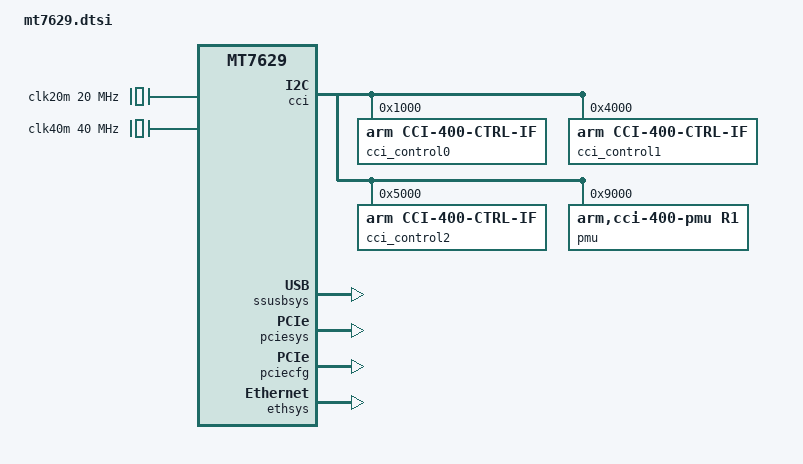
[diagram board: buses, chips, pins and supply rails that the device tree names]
// SPDX-License-Identifier: GPL-2.0
/*
 * Copyright (c) 2019 MediaTek Inc.
 *
 * Author: Ryder Lee <ryder.lee@mediatek.com>
 */

#include <dt-bindings/interrupt-controller/irq.h>
#include <dt-bindings/interrupt-controller/arm-gic.h>
#include <dt-bindings/clock/mt7629-clk.h>
#include <dt-bindings/power/mt7622-power.h>
#include <dt-bindings/gpio/gpio.h>
#include <dt-bindings/phy/phy.h>
#include <dt-bindings/reset/mt7629-resets.h>

/ {
	compatible = "mediatek,mt7629";
	interrupt-parent = <&sysirq>;
	#address-cells = <1>;
	#size-cells = <1>;

	cpus {
		#address-cells = <1>;
		#size-cells = <0>;
		enable-method = "mediatek,mt6589-smp";

		cpu0: cpu@0 {
			device_type = "cpu";
			compatible = "arm,cortex-a7";
			reg = <0x0>;
			clock-frequency = <1250000000>;
			cci-control-port = <&cci_control2>;
		};

		cpu1: cpu@1 {
			device_type = "cpu";
			compatible = "arm,cortex-a7";
			reg = <0x1>;
			clock-frequency = <1250000000>;
			cci-control-port = <&cci_control2>;
		};
	};

	pmu {
		compatible = "arm,cortex-a7-pmu";
		interrupts = <GIC_SPI 8 IRQ_TYPE_LEVEL_LOW>,
			     <GIC_SPI 9 IRQ_TYPE_LEVEL_LOW>;
		interrupt-affinity = <&cpu0>, <&cpu1>;
	};

	clk20m: oscillator-0 {
		compatible = "fixed-clock";
		#clock-cells = <0>;
		clock-frequency = <20000000>;
		clock-output-names = "clk20m";
	};

	clk40m: oscillator-1 {
		compatible = "fixed-clock";
		#clock-cells = <0>;
		clock-frequency = <40000000>;
		clock-output-names = "clkxtal";
	};

	timer {
		compatible = "arm,armv7-timer";
		interrupt-parent = <&gic>;
		interrupts = <GIC_PPI 13 (GIC_CPU_MASK_SIMPLE(4) | IRQ_TYPE_LEVEL_HIGH)>,
			     <GIC_PPI 14 (GIC_CPU_MASK_SIMPLE(4) | IRQ_TYPE_LEVEL_HIGH)>,
			     <GIC_PPI 11 (GIC_CPU_MASK_SIMPLE(4) | IRQ_TYPE_LEVEL_HIGH)>,
			     <GIC_PPI 10 (GIC_CPU_MASK_SIMPLE(4) | IRQ_TYPE_LEVEL_HIGH)>;
		clock-frequency = <20000000>;
	};

	soc {
		compatible = "simple-bus";
		#address-cells = <1>;
		#size-cells = <1>;
		ranges;

		infracfg: syscon@10000000 {
			compatible = "mediatek,mt7629-infracfg", "syscon";
			reg = <0x10000000 0x1000>;
			#clock-cells = <1>;
		};

		pericfg: syscon@10002000 {
			compatible = "mediatek,mt7629-pericfg", "syscon";
			reg = <0x10002000 0x1000>;
			#clock-cells = <1>;
		};

		scpsys: power-controller@10006000 {
			compatible = "mediatek,mt7629-scpsys",
				     "mediatek,mt7622-scpsys";
			#power-domain-cells = <1>;
			reg = <0x10006000 0x1000>;
			clocks = <&topckgen CLK_TOP_HIF_SEL>;
			clock-names = "hif_sel";
			assigned-clocks = <&topckgen CLK_TOP_HIF_SEL>;
			assigned-clock-parents = <&topckgen CLK_TOP_UNIVPLL1_D2>;
			infracfg = <&infracfg>;
		};

		timer: timer@10009000 {
			compatible = "mediatek,mt7629-timer",
				     "mediatek,mt6765-timer";
			reg = <0x10009000 0x60>;
			interrupts = <GIC_SPI 169 IRQ_TYPE_LEVEL_HIGH>,
				     <GIC_SPI 170 IRQ_TYPE_LEVEL_HIGH>;
			clocks = <&clk20m>;
			clock-names = "clk20m";
		};

		sysirq: interrupt-controller@10200a80 {
			compatible = "mediatek,mt7629-sysirq",
				     "mediatek,mt6577-sysirq";
			reg = <0x10200a80 0x20>;
			interrupt-controller;
			#interrupt-cells = <3>;
			interrupt-parent = <&gic>;
		};

		apmixedsys: syscon@10209000 {
			compatible = "mediatek,mt7629-apmixedsys", "syscon";
			reg = <0x10209000 0x1000>;
			#clock-cells = <1>;
		};

		rng: rng@1020f000 {
			compatible = "mediatek,mt7629-rng",
				     "mediatek,mt7623-rng";
			reg = <0x1020f000 0x100>;
			clocks = <&infracfg CLK_INFRA_TRNG_PD>;
			clock-names = "rng";
		};

		topckgen: syscon@10210000 {
			compatible = "mediatek,mt7629-topckgen", "syscon";
			reg = <0x10210000 0x1000>;
			#clock-cells = <1>;
		};

		watchdog: watchdog@10212000 {
			compatible = "mediatek,mt7629-wdt",
				     "mediatek,mt6589-wdt";
			reg = <0x10212000 0x100>;
		};

		pio: pinctrl@10217000 {
			compatible = "mediatek,mt7629-pinctrl";
			reg = <0x10217000 0x8000>,
			      <0x10005000 0x1000>;
			reg-names = "base", "eint";
			gpio-controller;
			gpio-ranges = <&pio 0 0 79>;
			#gpio-cells = <2>;
			#interrupt-cells = <2>;
			interrupt-controller;
			interrupts = <GIC_SPI 153 IRQ_TYPE_LEVEL_HIGH>;
			interrupt-parent = <&gic>;
		};

		gic: interrupt-controller@10300000 {
			compatible = "arm,gic-400";
			interrupt-controller;
			#interrupt-cells = <3>;
			interrupt-parent = <&gic>;
			reg = <0x10310000 0x1000>,
			      <0x10320000 0x1000>,
			      <0x10340000 0x2000>,
			      <0x10360000 0x2000>;
		};

		cci: cci@10390000 {
			compatible = "arm,cci-400";
			#address-cells = <1>;
			#size-cells = <1>;
			reg = <0x10390000 0x1000>;
			ranges = <0 0x10390000 0x10000>;

			cci_control0: slave-if@1000 {
				compatible = "arm,cci-400-ctrl-if";
				interface-type = "ace-lite";
				reg = <0x1000 0x1000>;
			};

			cci_control1: slave-if@4000 {
				compatible = "arm,cci-400-ctrl-if";
				interface-type = "ace";
				reg = <0x4000 0x1000>;
			};

			cci_control2: slave-if@5000 {
				compatible = "arm,cci-400-ctrl-if";
				interface-type = "ace";
				reg = <0x5000 0x1000>;
			};

			pmu@9000 {
				compatible = "arm,cci-400-pmu,r1";
				reg = <0x9000 0x5000>;
				interrupts = <GIC_SPI 58 IRQ_TYPE_LEVEL_HIGH>,
					     <GIC_SPI 59 IRQ_TYPE_LEVEL_HIGH>,
					     <GIC_SPI 60 IRQ_TYPE_LEVEL_HIGH>,
					     <GIC_SPI 61 IRQ_TYPE_LEVEL_HIGH>,
					     <GIC_SPI 62 IRQ_TYPE_LEVEL_HIGH>;
			};
		};

		uart0: serial@11002000 {
			compatible = "mediatek,mt7629-uart",
				     "mediatek,mt6577-uart";
			reg = <0x11002000 0x400>;
			interrupts = <GIC_SPI 91 IRQ_TYPE_LEVEL_LOW>;
			clocks = <&topckgen CLK_TOP_UART_SEL>,
				 <&pericfg CLK_PERI_UART0_PD>;
			clock-names = "baud", "bus";
			status = "disabled";
		};

		uart1: serial@11003000 {
			compatible = "mediatek,mt7629-uart",
				     "mediatek,mt6577-uart";
			reg = <0x11003000 0x400>;
			interrupts = <GIC_SPI 92 IRQ_TYPE_LEVEL_LOW>;
			clocks = <&topckgen CLK_TOP_UART_SEL>,
				 <&pericfg CLK_PERI_UART1_PD>;
			clock-names = "baud", "bus";
			status = "disabled";
		};

		uart2: serial@11004000 {
			compatible = "mediatek,mt7629-uart",
				     "mediatek,mt6577-uart";
			reg = <0x11004000 0x400>;
			interrupts = <GIC_SPI 93 IRQ_TYPE_LEVEL_LOW>;
			clocks = <&topckgen CLK_TOP_UART_SEL>,
				 <&pericfg CLK_PERI_UART2_PD>;
			clock-names = "baud", "bus";
			status = "disabled";
		};

		pwm: pwm@11006000 {
			compatible = "mediatek,mt7629-pwm";
			reg = <0x11006000 0x1000>;
			#pwm-cells = <2>;
			clocks = <&topckgen CLK_TOP_PWM_SEL>,
				 <&pericfg CLK_PERI_PWM_PD>,
				 <&pericfg CLK_PERI_PWM1_PD>;
			clock-names = "top", "main", "pwm1";
			assigned-clocks = <&topckgen CLK_TOP_PWM_SEL>;
			assigned-clock-parents =
					<&topckgen CLK_TOP_UNIVPLL2_D4>;
			status = "disabled";
		};

		i2c: i2c@11007000 {
			compatible = "mediatek,mt7629-i2c",
				     "mediatek,mt2712-i2c";
			reg = <0x11007000 0x90>,
			      <0x11000100 0x80>;
			interrupts = <GIC_SPI 84 IRQ_TYPE_LEVEL_LOW>;
			clock-div = <4>;
			clocks = <&pericfg CLK_PERI_I2C0_PD>,
				 <&pericfg CLK_PERI_AP_DMA_PD>;
			clock-names = "main", "dma";
			assigned-clocks = <&topckgen CLK_TOP_AXI_SEL>;
			assigned-clock-parents = <&topckgen CLK_TOP_SYSPLL1_D2>;
			#address-cells = <1>;
			#size-cells = <0>;
			status = "disabled";
		};

		spi: spi@1100a000 {
			compatible = "mediatek,mt7629-spi",
				     "mediatek,mt7622-spi";
			#address-cells = <1>;
			#size-cells = <0>;
			reg = <0x1100a000 0x100>;
			interrupts = <GIC_SPI 118 IRQ_TYPE_LEVEL_LOW>;
			clocks = <&topckgen CLK_TOP_SYSPLL3_D2>,
				 <&topckgen CLK_TOP_SPI0_SEL>,
				 <&pericfg CLK_PERI_SPI0_PD>;
			clock-names = "parent-clk", "sel-clk", "spi-clk";
			status = "disabled";
		};

		qspi: spi@11014000 {
			compatible = "mediatek,mt7629-nor",
				     "mediatek,mt8173-nor";
			reg = <0x11014000 0xe0>;
			clocks = <&pericfg CLK_PERI_FLASH_PD>,
				 <&topckgen CLK_TOP_FLASH_SEL>;
			clock-names = "spi", "sf";
			#address-cells = <1>;
			#size-cells = <0>;
			status = "disabled";
		};

		ssusbsys: syscon@1a000000 {
			compatible = "mediatek,mt7629-ssusbsys", "syscon";
			reg = <0x1a000000 0x1000>;
			#clock-cells = <1>;
			#reset-cells = <1>;
		};

		ssusb: usb@1a0c0000 {
			compatible = "mediatek,mt7629-xhci",
				     "mediatek,mtk-xhci";
			reg = <0x1a0c0000 0x01000>,
			      <0x1a0c3e00 0x0100>;
			reg-names = "mac", "ippc";
			interrupts = <GIC_SPI 232 IRQ_TYPE_LEVEL_LOW>;
			clocks = <&ssusbsys CLK_SSUSB_SYS_EN>,
				 <&ssusbsys CLK_SSUSB_REF_EN>,
				 <&ssusbsys CLK_SSUSB_MCU_EN>,
				 <&ssusbsys CLK_SSUSB_DMA_EN>;
			clock-names = "sys_ck", "ref_ck", "mcu_ck", "dma_ck";
			assigned-clocks = <&topckgen CLK_TOP_AXI_SEL>,
					  <&topckgen CLK_TOP_SATA_SEL>,
					  <&topckgen CLK_TOP_HIF_SEL>;
			assigned-clock-parents = <&topckgen CLK_TOP_SYSPLL1_D2>,
						 <&topckgen CLK_TOP_UNIVPLL2_D4>,
						 <&topckgen CLK_TOP_UNIVPLL1_D2>;
			power-domains = <&scpsys MT7622_POWER_DOMAIN_HIF1>;
			phys = <&u2port0 PHY_TYPE_USB2>,
			       <&u3port0 PHY_TYPE_USB3>;
			status = "disabled";
		};

		u3phy0: t-phy@1a0c4000 {
			compatible = "mediatek,mt7629-tphy",
				     "mediatek,generic-tphy-v2";
			#address-cells = <1>;
			#size-cells = <1>;
			ranges = <0 0x1a0c4000 0xe00>;
			status = "disabled";

			u2port0: usb-phy@0 {
				reg = <0 0x700>;
				clocks = <&ssusbsys CLK_SSUSB_U2_PHY_EN>;
				clock-names = "ref";
				#phy-cells = <1>;
				status = "okay";
			};

			u3port0: usb-phy@700 {
				reg = <0x700 0x700>;
				clocks = <&clk20m>;
				clock-names = "ref";
				#phy-cells = <1>;
				status = "okay";
			};
		};

		pciesys: syscon@1a100800 {
			compatible = "mediatek,mt7629-pciesys", "syscon";
			reg = <0x1a100800 0x1000>;
			#clock-cells = <1>;
			#reset-cells = <1>;
		};

		pciecfg: pciecfg@1a140000 {
			compatible = "mediatek,generic-pciecfg", "syscon";
			reg = <0x1a140000 0x1000>;
		};

		pcie1: pcie@1a145000 {
			compatible = "mediatek,mt7629-pcie";
			device_type = "pci";
			reg = <0x1a145000 0x1000>;
			reg-names = "port1";
			linux,pci-domain = <1>;
			#address-cells = <3>;
			#size-cells = <2>;
			interrupts = <GIC_SPI 229 IRQ_TYPE_LEVEL_LOW>;
			interrupt-names = "pcie_irq";
			clocks = <&pciesys CLK_PCIE_P1_MAC_EN>,
				 <&pciesys CLK_PCIE_P0_AHB_EN>,
				 <&pciesys CLK_PCIE_P1_AUX_EN>,
				 <&pciesys CLK_PCIE_P1_AXI_EN>,
				 <&pciesys CLK_PCIE_P1_OBFF_EN>,
				 <&pciesys CLK_PCIE_P1_PIPE_EN>;
			clock-names = "sys_ck1", "ahb_ck1",
				      "aux_ck1", "axi_ck1",
				      "obff_ck1", "pipe_ck1";
			assigned-clocks = <&topckgen CLK_TOP_SATA_SEL>,
					  <&topckgen CLK_TOP_AXI_SEL>,
					  <&topckgen CLK_TOP_HIF_SEL>;
			assigned-clock-parents = <&topckgen CLK_TOP_UNIVPLL2_D4>,
						 <&topckgen CLK_TOP_SYSPLL1_D2>,
						 <&topckgen CLK_TOP_UNIVPLL1_D2>;
			phys = <&pcieport1 PHY_TYPE_PCIE>;
			phy-names = "pcie-phy1";
			power-domains = <&scpsys MT7622_POWER_DOMAIN_HIF0>;
			bus-range = <0x00 0xff>;
			ranges = <0x82000000 0 0x20000000 0x20000000 0 0x10000000>;
			status = "disabled";

			#interrupt-cells = <1>;
			interrupt-map-mask = <0 0 0 7>;
			interrupt-map = <0 0 0 1 &pcie_intc1 0>,
					<0 0 0 2 &pcie_intc1 1>,
					<0 0 0 3 &pcie_intc1 2>,
					<0 0 0 4 &pcie_intc1 3>;
			pcie_intc1: interrupt-controller {
				interrupt-controller;
				#address-cells = <0>;
				#interrupt-cells = <1>;
			};
		};

		pciephy1: t-phy@1a14a000 {
			compatible = "mediatek,mt7629-tphy",
				     "mediatek,generic-tphy-v2";
			#address-cells = <1>;
			#size-cells = <1>;
			ranges = <0 0x1a14a000 0x1000>;
			status = "disabled";

			pcieport1: pcie-phy@0 {
				reg = <0 0x1000>;
				clocks = <&clk20m>;
				clock-names = "ref";
				#phy-cells = <1>;
				status = "okay";
			};
		};

		ethsys: syscon@1b000000 {
			compatible = "mediatek,mt7629-ethsys", "syscon";
			reg = <0x1b000000 0x1000>;
			#clock-cells = <1>;
			#reset-cells = <1>;
		};

		eth: ethernet@1b100000 {
			compatible = "mediatek,mt7629-eth","syscon";
			reg = <0x1b100000 0x20000>;
			interrupts = <GIC_SPI 223 IRQ_TYPE_LEVEL_LOW>,
				     <GIC_SPI 224 IRQ_TYPE_LEVEL_LOW>,
				     <GIC_SPI 225 IRQ_TYPE_LEVEL_LOW>;
			clocks = <&topckgen CLK_TOP_ETH_SEL>,
				 <&topckgen CLK_TOP_F10M_REF_SEL>,
				 <&ethsys CLK_ETH_ESW_EN>,
				 <&ethsys CLK_ETH_GP0_EN>,
				 <&ethsys CLK_ETH_GP1_EN>,
				 <&ethsys CLK_ETH_GP2_EN>,
				 <&ethsys CLK_ETH_FE_EN>,
				 <&sgmiisys0 CLK_SGMII_TX_EN>,
				 <&sgmiisys0 CLK_SGMII_RX_EN>,
				 <&sgmiisys0 CLK_SGMII_CDR_REF>,
				 <&sgmiisys0 CLK_SGMII_CDR_FB>,
				 <&sgmiisys1 CLK_SGMII_TX_EN>,
				 <&sgmiisys1 CLK_SGMII_RX_EN>,
				 <&sgmiisys1 CLK_SGMII_CDR_REF>,
				 <&sgmiisys1 CLK_SGMII_CDR_FB>,
				 <&apmixedsys CLK_APMIXED_SGMIPLL>,
				 <&apmixedsys CLK_APMIXED_ETH2PLL>;
			clock-names = "ethif", "sgmiitop", "esw", "gp0", "gp1",
				      "gp2", "fe", "sgmii_tx250m", "sgmii_rx250m",
				      "sgmii_cdr_ref", "sgmii_cdr_fb",
				      "sgmii2_tx250m", "sgmii2_rx250m",
				      "sgmii2_cdr_ref", "sgmii2_cdr_fb",
				      "sgmii_ck", "eth2pll";
			assigned-clocks = <&topckgen CLK_TOP_ETH_SEL>,
					  <&topckgen CLK_TOP_F10M_REF_SEL>;
			assigned-clock-parents = <&topckgen CLK_TOP_UNIVPLL1_D2>,
						 <&topckgen CLK_TOP_SGMIIPLL_D2>;
			power-domains = <&scpsys MT7622_POWER_DOMAIN_ETHSYS>;
			mediatek,ethsys = <&ethsys>;
			mediatek,sgmiisys = <&sgmiisys0>, <&sgmiisys1>;
			mediatek,infracfg = <&infracfg>;
			#address-cells = <1>;
			#size-cells = <0>;
			status = "disabled";
		};

		sgmiisys0: syscon@1b128000 {
			compatible = "mediatek,mt7629-sgmiisys", "syscon";
			reg = <0x1b128000 0x3000>;
			#clock-cells = <1>;
		};

		sgmiisys1: syscon@1b130000 {
			compatible = "mediatek,mt7629-sgmiisys", "syscon";
			reg = <0x1b130000 0x3000>;
			#clock-cells = <1>;
		};
	};
};
